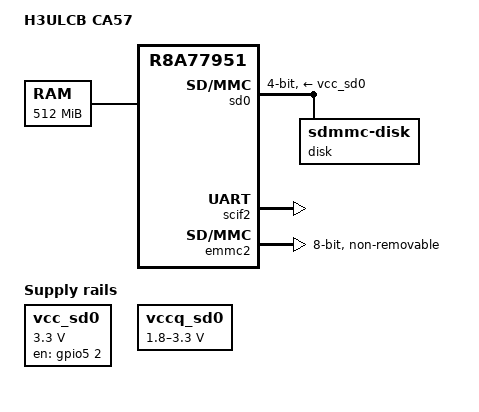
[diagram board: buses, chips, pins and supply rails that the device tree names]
/*
 * Copyright (c) 2023 EPAM Systems
 *
 * SPDX-License-Identifier: Apache-2.0
 *
 */

/dts-v1/;
#include <mem.h>
#include <arm64/renesas/r8a77951.dtsi>
#include <zephyr/dt-bindings/gpio/gpio.h>
#include "rcar_h3ulcb_r8a77951_a57-pinctrl.dtsi"

/ {
	model = "H3ULCB CA57";

	chosen {
		zephyr,sram = &ram;
		zephyr,console = &scif2;
		zephyr,shell-uart = &scif2;
	};

	ram: memory@48000000 {
		device_type = "mmio-sram";
		reg = <0x0 0x48000000 0x0 DT_SIZE_M(512)>;
	};

	/* These aliases are provided for compatibility with samples */
	aliases {
		sdhc0 = &emmc2;
	};

	vcc_sd0: regulator-vcc-sd0 {
		compatible = "regulator-fixed";

		regulator-name = "SD0 Vcc";
		regulator-min-microvolt = <3300000>;
		regulator-max-microvolt = <3300000>;

		enable-gpios = <&gpio5 2 GPIO_ACTIVE_HIGH>;
	};

	vccq_sd0: regulator-vccq-sd0 {
		compatible = "regulator-gpio";

		regulator-name = "SD0 VccQ";
		regulator-min-microvolt = <1800000>;
		regulator-max-microvolt = <3300000>;

		gpios = <&gpio5 1 GPIO_ACTIVE_HIGH>;
		states = <3300000 1>, <1800000 0>;

		regulator-always-on;
	};
};

&gpio5 {
	status = "okay";
};

&sd0 {
	pinctrl-0 = <&sd0_clk &sd0_cmd &sd0_cd &sd0_wp
		     &sd0_data0 &sd0_data1 &sd0_data2 &sd0_data3>;
	pinctrl-1 = <&sd0_clk_uhs &sd0_cmd_uhs &sd0_cd &sd0_wp
		     &sd0_data0_uhs &sd0_data1_uhs &sd0_data2_uhs &sd0_data3_uhs>;
	pinctrl-names = "default", "uhs";
	disk {
		compatible = "zephyr,sdmmc-disk";
		status = "okay";
		disk-name = "SDMMC";
	};

	vmmc-supply = <&vcc_sd0>;
	vqmmc-supply = <&vccq_sd0>;

	bus-width = <4>;
	mmc-sdr104-support;
	status = "okay";
};

&scif2 {
	pinctrl-0 = <&scif2_data_a_tx_default &scif2_data_a_rx_default>;
	pinctrl-names = "default";
	status = "okay";
};

&emmc2 {
	pinctrl-0 = <&emmc2_clk &emmc2_cmd &emmc2_ds
		     &emmc2_data0 &emmc2_data1 &emmc2_data2 &emmc2_data3
		     &emmc2_data4 &emmc2_data5 &emmc2_data6 &emmc2_data7>;
	pinctrl-1 = <&emmc2_clk &emmc2_cmd &emmc2_ds
		     &emmc2_data0 &emmc2_data1 &emmc2_data2 &emmc2_data3
		     &emmc2_data4 &emmc2_data5 &emmc2_data6 &emmc2_data7>;
	pinctrl-names = "default", "uhs";
	disk {
		compatible = "zephyr,mmc-disk";
		status = "disabled";
		disk-name = "MMC";
	};
	bus-width = <8>;
	mmc-hs200-1_8v;
	mmc-hs400-1_8v;
	non-removable;
};
